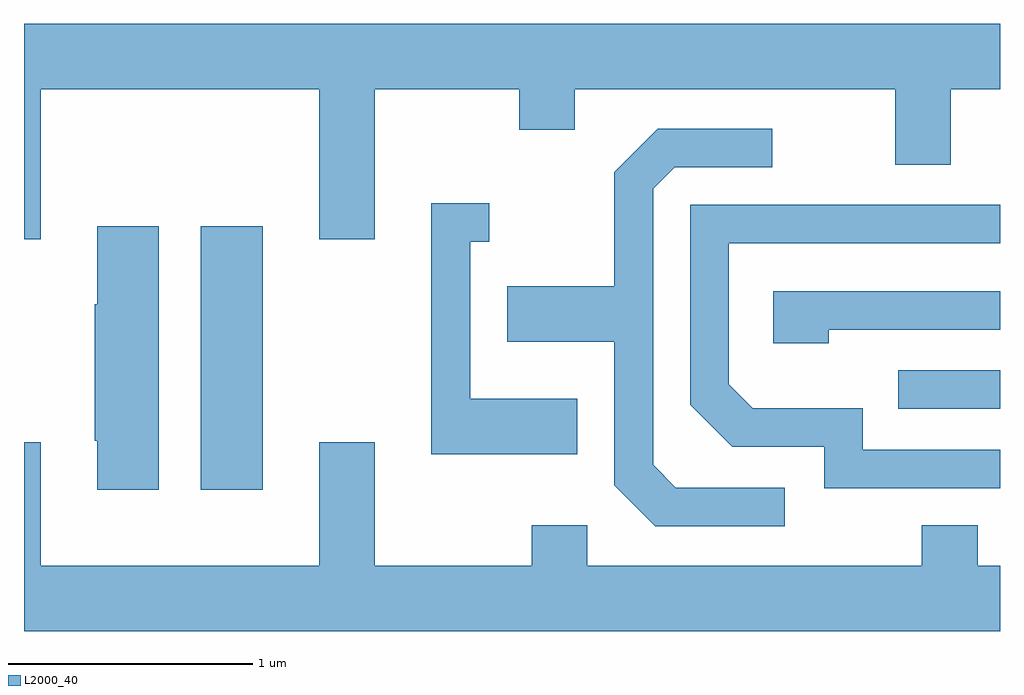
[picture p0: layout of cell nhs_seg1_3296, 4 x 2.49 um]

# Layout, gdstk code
import gdstk
lib = gdstk.Library(unit=1e-6, precision=1e-09)
def R(c, l, rs):  # rectangles x0, y0, x1, y1
    for r in rs: c.add(gdstk.rectangle(r[:2], r[2:], *l))
def P(c, l, *ps):  # polygons
    for p in ps: c.add(gdstk.Polygon(p, *l))
L2000_40 = (2000, 40)

nhs_seg1_3296 = lib.new_cell('nhs_seg1_3296')
R(nhs_seg1_3296, L2000_40, [(286.336,842.436,286.589,843.514), (289.193,842.766,289.611,842.924)])
P(nhs_seg1_3296, L2000_40, [(285.679,844.076),(286.821,844.076),(286.821,843.461),(287.049,843.461),(287.049,844.076),(287.641,844.076),(287.641,843.911),(287.869,843.911),(287.869,844.076),(289.181,844.076),(289.181,843.766),(289.409,843.766),(289.409,844.076),(289.611,844.076),(289.611,844.344),(285.611,844.344),(285.611,843.461),(285.679,843.461)],
  [(288.728,842.444),(288.282,842.444),(288.189,842.537),(288.189,843.669),(288.277,843.756),(288.678,843.756),(288.678,843.914),(288.209,843.914),(288.031,843.737),(288.031,843.269),(287.591,843.269),(287.591,843.041),(288.031,843.041),(288.031,842.454),(288.199,842.286),(288.728,842.286)],
  [(287.879,842.809),(287.439,842.809),(287.439,843.451),(287.518,843.451),(287.518,843.609),(287.281,843.609),(287.281,842.581),(287.879,842.581)],
  [(289.611,842.599),(289.049,842.599),(289.049,842.769),(288.597,842.769),(288.499,842.867),(288.499,843.446),(289.611,843.446),(289.611,843.604),(288.341,843.604),(288.341,842.784),(288.514,842.611),(288.891,842.611),(288.891,842.441),(289.611,842.441)],
  [(286.164,843.514),(285.911,843.514),(285.911,843.195),(285.901,843.195),(285.901,842.635),(285.911,842.635),(285.911,842.436),(286.164,842.436)],
  [(288.909,843.091),(289.611,843.091),(289.611,843.249),(288.681,843.249),(288.681,843.036),(288.909,843.036)],
  [(289.611,842.124),(289.519,842.124),(289.519,842.289),(289.291,842.289),(289.291,842.124),(287.919,842.124),(287.919,842.289),(287.691,842.289),(287.691,842.124),(287.049,842.124),(287.049,842.629),(286.821,842.629),(286.821,842.124),(285.679,842.124),(285.679,842.629),(285.611,842.629),(285.611,841.856),(289.611,841.856)])

lib.write_gds('nhs_seg1_3296.gds')
